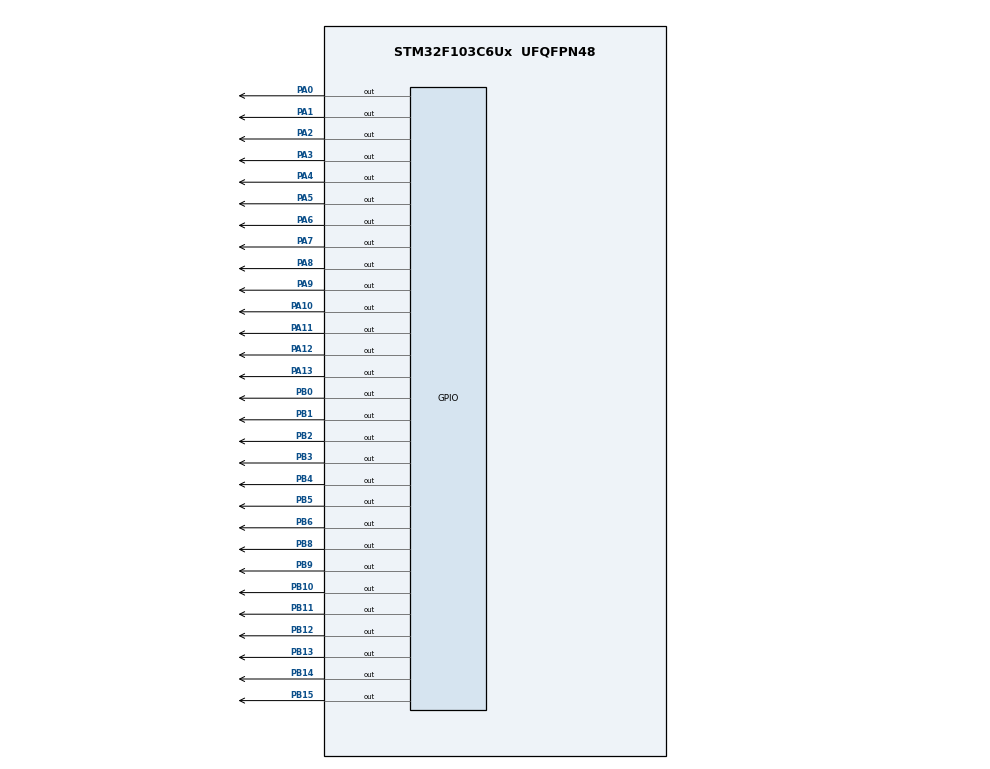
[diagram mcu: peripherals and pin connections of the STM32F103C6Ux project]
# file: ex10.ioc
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Mcu.Family=STM32F1
Mcu.Name=STM32F103C6Ux
Mcu.Package=UFQFPN48
NVIC.PriorityGroup=NVIC_PRIORITYGROUP_4
NVIC.TIM2_IRQn=true\:0\:0\:false\:false\:true\:true\:true
PA0-WKUP.Signal=GPIO_Output
PA1.Signal=GPIO_Output
PA10.Signal=GPIO_Output
PA11.Signal=GPIO_Output
PA12.Signal=GPIO_Output
PA13.Signal=GPIO_Output
PA2.Signal=GPIO_Output
PA3.Signal=GPIO_Output
PA4.Signal=GPIO_Output
PA5.Signal=GPIO_Output
PA6.Signal=GPIO_Output
PA7.Signal=GPIO_Output
PA8.Signal=GPIO_Output
PA9.Signal=GPIO_Output
PB0.Signal=GPIO_Output
PB1.Signal=GPIO_Output
PB10.Signal=GPIO_Output
PB11.Signal=GPIO_Output
PB12.Signal=GPIO_Output
PB13.Signal=GPIO_Output
PB14.Signal=GPIO_Output
PB15.Signal=GPIO_Output
PB2.Signal=GPIO_Output
PB3.Signal=GPIO_Output
PB4.Signal=GPIO_Output
PB5.Signal=GPIO_Output
PB6.Signal=GPIO_Output
PB8.Signal=GPIO_Output
PB9.Signal=GPIO_Output
ProjectManager.HeapSize=0x200
ProjectManager.StackSize=0x400
ProjectManager.TargetToolchain=STM32CubeIDE
RCC.APB1Freq_Value=8000000
RCC.APB2Freq_Value=8000000
TIM2.Period=9
TIM2.Prescaler=7999
VP_SYS_VS_ND.Mode=No_Debug
VP_TIM2_VS_ClockSourceINT.Mode=Internal
board=custom

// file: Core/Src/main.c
/* USER CODE BEGIN Header */
/**
  ******************************************************************************
  * @file           : main.c
  * @brief          : Main program body
  ******************************************************************************
  * @attention
  *
  * <h2><center>&copy; Copyright (c) 2026 STMicroelectronics.
  * All rights reserved.</center></h2>
  *
  * This software component is licensed by ST under BSD 3-Clause license,
  * the "License"; You may not use this file except in compliance with the
  * License. You may obtain a copy of the License at:
  *                        opensource.org/licenses/BSD-3-Clause
  *
  ******************************************************************************
  */
/* USER CODE END Header */
#include "main.h"

TIM_HandleTypeDef htim2;

void SystemClock_Config(void);
static void MX_GPIO_Init(void);
static void MX_TIM2_Init(void);

/* USER CODE BEGIN 0 */
int timer0_counter = 0;
int timer0_flag = 0;
int timer1_counter = 0;
int timer1_flag = 0;
int timer2_counter = 0;
int timer2_flag = 0;
int timer3_counter = 0;
int timer3_flag = 0;

int TIMER_CYCLE = 10;

void setTimer0(int duration) {
    timer0_counter = duration / TIMER_CYCLE;
    timer0_flag = 0;
}
void setTimer1(int duration) {
    timer1_counter = duration / TIMER_CYCLE;
    timer1_flag = 0;
}
void setTimer2(int duration) {
    timer2_counter = duration / TIMER_CYCLE;
    timer2_flag = 0;
}
void setTimer3(int duration) {
    timer3_counter = duration / TIMER_CYCLE;
    timer3_flag = 0;
}

void timer_run() {
    if(timer0_counter > 0) {
        timer0_counter--;
        if(timer0_counter == 0) timer0_flag = 1;
    }
    if(timer1_counter > 0) {
        timer1_counter--;
        if(timer1_counter == 0) timer1_flag = 1;
    }
    if(timer2_counter > 0) {
        timer2_counter--;
        if(timer2_counter == 0) timer2_flag = 1;
    }
    if(timer3_counter > 0) {
        timer3_counter--;
        if(timer3_counter == 0) timer3_flag = 1;
    }
}

const uint8_t led7seg[10] = {0x40, 0x79, 0x24, 0x30, 0x19, 0x12, 0x02, 0x78, 0x00, 0x10};
void display7SEG(int num) {
    if (num < 0 || num > 9) return;
    uint8_t display_code = led7seg[num];
    HAL_GPIO_WritePin(GPIOB, GPIO_PIN_0, (display_code >> 0) & 0x01);
    HAL_GPIO_WritePin(GPIOB, GPIO_PIN_1, (display_code >> 1) & 0x01);
    HAL_GPIO_WritePin(GPIOB, GPIO_PIN_2, (display_code >> 2) & 0x01);
    HAL_GPIO_WritePin(GPIOB, GPIO_PIN_3, (display_code >> 3) & 0x01);
    HAL_GPIO_WritePin(GPIOB, GPIO_PIN_4, (display_code >> 4) & 0x01);
    HAL_GPIO_WritePin(GPIOB, GPIO_PIN_5, (display_code >> 5) & 0x01);
    HAL_GPIO_WritePin(GPIOB, GPIO_PIN_6, (display_code >> 6) & 0x01);
}

int index_led = 0;
int led_buffer[4] = {1, 2, 3, 0};
int hour = 15;
int minute = 8;
int second = 50;

void updateClockBuffer() {
    led_buffer[0] = hour / 10;
    led_buffer[1] = hour % 10;
    led_buffer[2] = minute / 10;
    led_buffer[3] = minute % 10;
}

void update7SEG(int index) {
    HAL_GPIO_WritePin(GPIOA, GPIO_PIN_6 | GPIO_PIN_7 | GPIO_PIN_8 | GPIO_PIN_9, GPIO_PIN_SET);
    display7SEG(led_buffer[index]);
    switch(index) {
        case 0: HAL_GPIO_WritePin(GPIOA, GPIO_PIN_6, GPIO_PIN_RESET); break;
        case 1: HAL_GPIO_WritePin(GPIOA, GPIO_PIN_7, GPIO_PIN_RESET); break;
        case 2: HAL_GPIO_WritePin(GPIOA, GPIO_PIN_8, GPIO_PIN_RESET); break;
        case 3: HAL_GPIO_WritePin(GPIOA, GPIO_PIN_9, GPIO_PIN_RESET); break;
    }
}

// ================= PHẦN CỦA LED MA TRẬN =================
const int MAX_LED_MATRIX = 8;
int index_led_matrix = 0;

// Khai báo mảng dữ liệu TRƯỚC khi hàm shiftLeftMatrix() sử dụng
uint8_t matrix_buffer[8] = {0x00, 0x00, 0x7C, 0x12, 0x12, 0x7C, 0x00, 0x00};

void shiftLeftMatrix() {
    uint8_t temp = matrix_buffer[0]; // Lưu cột ngoài cùng bên trái
    for (int i = 0; i < 7; i++) {
        matrix_buffer[i] = matrix_buffer[i + 1]; // Đẩy các cột từ phải sang trái
    }
    matrix_buffer[7] = temp;
}

void updateLEDMatrix(int index) {
    // tắt các cột của Matrix (Kéo ENM về 0)
    HAL_GPIO_WritePin(GPIOA, GPIO_PIN_0 | GPIO_PIN_1 | GPIO_PIN_2 | GPIO_PIN_3 |
                             GPIO_PIN_10 | GPIO_PIN_11 | GPIO_PIN_12 | GPIO_PIN_13, GPIO_PIN_RESET);

    // xuất dữ liệu HÀNG ra PB8 -> PB15
    uint8_t row_data = matrix_buffer[index];
    HAL_GPIO_WritePin(GPIOB, GPIO_PIN_8,  (row_data >> 0) & 0x01);
    HAL_GPIO_WritePin(GPIOB, GPIO_PIN_9,  (row_data >> 1) & 0x01);
    HAL_GPIO_WritePin(GPIOB, GPIO_PIN_10, (row_data >> 2) & 0x01);
    HAL_GPIO_WritePin(GPIOB, GPIO_PIN_11, (row_data >> 3) & 0x01);
    HAL_GPIO_WritePin(GPIOB, GPIO_PIN_12, (row_data >> 4) & 0x01);
    HAL_GPIO_WritePin(GPIOB, GPIO_PIN_13, (row_data >> 5) & 0x01);
    HAL_GPIO_WritePin(GPIOB, GPIO_PIN_14, (row_data >> 6) & 0x01);
    HAL_GPIO_WritePin(GPIOB, GPIO_PIN_15, (row_data >> 7) & 0x01);

    // Bật CỘT tương ứng
    switch (index) {
        case 0: HAL_GPIO_WritePin(GPIOA, GPIO_PIN_0,  GPIO_PIN_SET); break;
        case 1: HAL_GPIO_WritePin(GPIOA, GPIO_PIN_1,  GPIO_PIN_SET); break;
        case 2: HAL_GPIO_WritePin(GPIOA, GPIO_PIN_2,  GPIO_PIN_SET); break;
        case 3: HAL_GPIO_WritePin(GPIOA, GPIO_PIN_3,  GPIO_PIN_SET); break;
        case 4: HAL_GPIO_WritePin(GPIOA, GPIO_PIN_10, GPIO_PIN_SET); break;
        case 5: HAL_GPIO_WritePin(GPIOA, GPIO_PIN_11, GPIO_PIN_SET); break;
        case 6: HAL_GPIO_WritePin(GPIOA, GPIO_PIN_12, GPIO_PIN_SET); break;
        case 7: HAL_GPIO_WritePin(GPIOA, GPIO_PIN_13, GPIO_PIN_SET); break;
    }
}
/* USER CODE END 0 */

int main(void)
{

  /* MCU Configuration--------------------------------------------------------*/

  /* Reset of all peripherals, Initializes the Flash interface and the Systick. */
  HAL_Init();

  /* Configure the system clock */
  SystemClock_Config();

  /* Initialize all configured peripherals */
  MX_GPIO_Init();
  MX_TIM2_Init();
  /* USER CODE BEGIN 2 */
  HAL_TIM_Base_Start_IT(&htim2);
  updateClockBuffer();

  setTimer0(1000); // Hẹn 1000ms cho đồng hồ đếm giây & nháy đèn DOT
  setTimer1(250);  // Hẹn 250ms cho việc quét lần lượt từng con LED 7 đoạn
  setTimer2(10);   // Hẹn 10ms cho LED Matrix quét thật nhanh (nếu quét 250ms như 7 đoạn nó sẽ bị chớp nháy rất xấu)
  setTimer3(200);
  /* USER CODE END 2 */
  /* Infinite loop */
  /* USER CODE BEGIN WHILE */
  while (1)
  {
      // Xử lý đồng hồ và DOT mỗi 1s (1000ms)
      if (timer0_flag == 1) {
          setTimer0(1000);

          second++;
          if (second >= 60) {
              second = 0;
              minute++;
          }
          if (minute >= 60) {
              minute = 0;
              hour++;
          }
          if (hour >= 24) {
              hour = 0;
          }
          updateClockBuffer();
          HAL_GPIO_TogglePin(GPIOA, GPIO_PIN_4); // Nháy đèn DOT
      }

      if (timer1_flag == 1) {
          setTimer1(250);

          update7SEG(index_led);
          index_led++;
          if (index_led > 3) {
              index_led = 0;
          }
      }

      // Quét LED Ma trận (Matrix) mỗi 10ms
      if (timer2_flag == 1) {
		  setTimer2(10);
		  updateLEDMatrix(index_led_matrix);
		  index_led_matrix++;
		  if (index_led_matrix >= 8) {
			  index_led_matrix = 0;
		  }
	  }

	  if (timer3_flag == 1) {
		  setTimer3(200);
		  shiftLeftMatrix();
	  }    /* USER CODE END WHILE */

  }
}

void SystemClock_Config(void)
{
  RCC_OscInitTypeDef RCC_OscInitStruct = {0};
  RCC_ClkInitTypeDef RCC_ClkInitStruct = {0};

  /** Initializes the RCC Oscillators according to the specified parameters
  * in the RCC_OscInitTypeDef structure.
  */
  RCC_OscInitStruct.OscillatorType = RCC_OSCILLATORTYPE_HSI;
  RCC_OscInitStruct.HSIState = RCC_HSI_ON;
  RCC_OscInitStruct.HSICalibrationValue = RCC_HSICALIBRATION_DEFAULT;
  RCC_OscInitStruct.PLL.PLLState = RCC_PLL_NONE;
  if (HAL_RCC_OscConfig(&RCC_OscInitStruct) != HAL_OK)
  {
    Error_Handler();
  }
  /** Initializes the CPU, AHB and APB buses clocks
  */
  RCC_ClkInitStruct.ClockType = RCC_CLOCKTYPE_HCLK|RCC_CLOCKTYPE_SYSCLK
                              |RCC_CLOCKTYPE_PCLK1|RCC_CLOCKTYPE_PCLK2;
  RCC_ClkInitStruct.SYSCLKSource = RCC_SYSCLKSOURCE_HSI;
  RCC_ClkInitStruct.AHBCLKDivider = RCC_SYSCLK_DIV1;
  RCC_ClkInitStruct.APB1CLKDivider = RCC_HCLK_DIV1;
  RCC_ClkInitStruct.APB2CLKDivider = RCC_HCLK_DIV1;

  if (HAL_RCC_ClockConfig(&RCC_ClkInitStruct, FLASH_LATENCY_0) != HAL_OK)
  {
    Error_Handler();
  }
}

static void MX_TIM2_Init(void)
{

  TIM_ClockConfigTypeDef sClockSourceConfig = {0};
  TIM_MasterConfigTypeDef sMasterConfig = {0};

  htim2.Instance = TIM2;
  htim2.Init.Prescaler = 7999;
  htim2.Init.CounterMode = TIM_COUNTERMODE_UP;
  htim2.Init.Period = 9;
  htim2.Init.ClockDivision = TIM_CLOCKDIVISION_DIV1;
  htim2.Init.AutoReloadPreload = TIM_AUTORELOAD_PRELOAD_DISABLE;
  if (HAL_TIM_Base_Init(&htim2) != HAL_OK)
  {
    Error_Handler();
  }
  sClockSourceConfig.ClockSource = TIM_CLOCKSOURCE_INTERNAL;
  if (HAL_TIM_ConfigClockSource(&htim2, &sClockSourceConfig) != HAL_OK)
  {
    Error_Handler();
  }
  sMasterConfig.MasterOutputTrigger = TIM_TRGO_RESET;
  sMasterConfig.MasterSlaveMode = TIM_MASTERSLAVEMODE_DISABLE;
  if (HAL_TIMEx_MasterConfigSynchronization(&htim2, &sMasterConfig) != HAL_OK)
  {
    Error_Handler();
  }

}

static void MX_GPIO_Init(void)
{
  GPIO_InitTypeDef GPIO_InitStruct = {0};

  /* GPIO Ports Clock Enable */
  __HAL_RCC_GPIOA_CLK_ENABLE();
  __HAL_RCC_GPIOB_CLK_ENABLE();
  __HAL_RCC_AFIO_CLK_ENABLE();
  __HAL_AFIO_REMAP_SWJ_DISABLE();

  /*Configure GPIO pin Output Level */
  HAL_GPIO_WritePin(GPIOA, GPIO_PIN_0|GPIO_PIN_1|GPIO_PIN_2|GPIO_PIN_3
                          |GPIO_PIN_4|GPIO_PIN_5|GPIO_PIN_6|GPIO_PIN_7
                          |GPIO_PIN_8|GPIO_PIN_9|GPIO_PIN_10|GPIO_PIN_11
                          |GPIO_PIN_12|GPIO_PIN_13, GPIO_PIN_RESET);

  /*Configure GPIO pin Output Level */
  HAL_GPIO_WritePin(GPIOB, GPIO_PIN_0|GPIO_PIN_1|GPIO_PIN_2|GPIO_PIN_10
                          |GPIO_PIN_11|GPIO_PIN_12|GPIO_PIN_13|GPIO_PIN_14
                          |GPIO_PIN_15|GPIO_PIN_3|GPIO_PIN_4|GPIO_PIN_5
                          |GPIO_PIN_6|GPIO_PIN_8|GPIO_PIN_9, GPIO_PIN_RESET);

  /*Configure GPIO pins : PA0 PA1 PA2 PA3
                           PA4 PA5 PA6 PA7
                           PA8 PA9 PA10 PA11
                           PA12 PA13 */
  GPIO_InitStruct.Pin = GPIO_PIN_0|GPIO_PIN_1|GPIO_PIN_2|GPIO_PIN_3
                          |GPIO_PIN_4|GPIO_PIN_5|GPIO_PIN_6|GPIO_PIN_7
                          |GPIO_PIN_8|GPIO_PIN_9|GPIO_PIN_10|GPIO_PIN_11
                          |GPIO_PIN_12|GPIO_PIN_13;
  GPIO_InitStruct.Mode = GPIO_MODE_OUTPUT_PP;
  GPIO_InitStruct.Pull = GPIO_NOPULL;
  GPIO_InitStruct.Speed = GPIO_SPEED_FREQ_LOW;
  HAL_GPIO_Init(GPIOA, &GPIO_InitStruct);

  /*Configure GPIO pins : PB0 PB1 PB2 PB10
                           PB11 PB12 PB13 PB14
                           PB15 PB3 PB4 PB5
                           PB6 PB8 PB9 */
  GPIO_InitStruct.Pin = GPIO_PIN_0|GPIO_PIN_1|GPIO_PIN_2|GPIO_PIN_10
                          |GPIO_PIN_11|GPIO_PIN_12|GPIO_PIN_13|GPIO_PIN_14
                          |GPIO_PIN_15|GPIO_PIN_3|GPIO_PIN_4|GPIO_PIN_5
                          |GPIO_PIN_6|GPIO_PIN_8|GPIO_PIN_9;
  GPIO_InitStruct.Mode = GPIO_MODE_OUTPUT_PP;
  GPIO_InitStruct.Pull = GPIO_NOPULL;
  GPIO_InitStruct.Speed = GPIO_SPEED_FREQ_LOW;
  HAL_GPIO_Init(GPIOB, &GPIO_InitStruct);

}

/* USER CODE BEGIN 4 */
void HAL_TIM_PeriodElapsedCallback(TIM_HandleTypeDef *htim)
{
    if (htim->Instance == TIM2) {
        timer_run();
    }
}
/* USER CODE END 4 */

void Error_Handler(void)
{
  __disable_irq();
  while (1)
  {
  }
}

/************************ (C) COPYRIGHT STMicroelectronics *****END OF FILE****/
